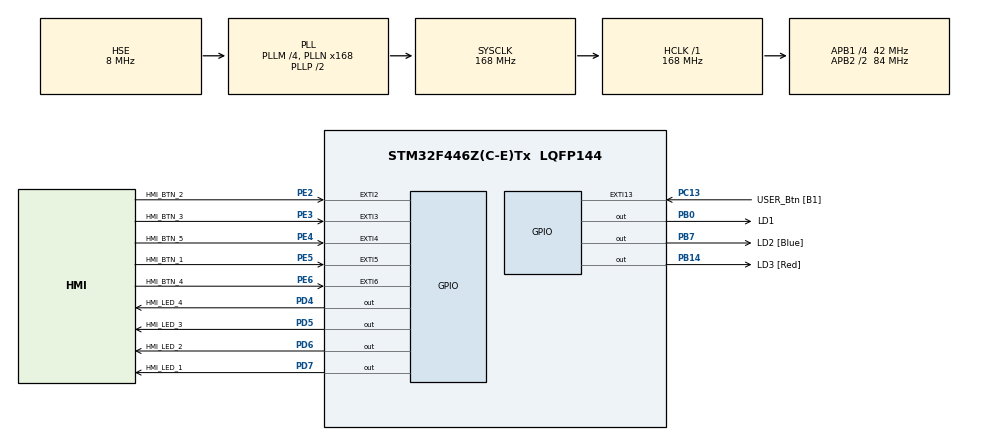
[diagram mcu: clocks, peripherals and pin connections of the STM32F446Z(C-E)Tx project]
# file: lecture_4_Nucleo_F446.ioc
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Mcu.Family=STM32F4
Mcu.Name=STM32F446Z(C-E)Tx
Mcu.Package=LQFP144
NVIC.EXTI15_10_IRQn=true\:0\:0\:false\:false\:true\:true\:true\:true
NVIC.EXTI2_IRQn=true\:0\:0\:false\:false\:true\:true\:true\:true
NVIC.EXTI3_IRQn=true\:0\:0\:false\:false\:true\:true\:true\:true
NVIC.EXTI4_IRQn=true\:0\:0\:false\:false\:true\:true\:true\:true
NVIC.EXTI9_5_IRQn=true\:0\:0\:false\:false\:true\:true\:true\:true
NVIC.PriorityGroup=NVIC_PRIORITYGROUP_4
PA13.Mode=Serial_Wire
PA13.Signal=SYS_JTMS-SWDIO
PA14.Mode=Serial_Wire
PA14.Signal=SYS_JTCK-SWCLK
PB0.GPIO_Label=LD1
PB0.Signal=GPIO_Output
PB14.GPIO_Label=LD3 [Red]
PB14.Signal=GPIO_Output
PB7.GPIO_Label=LD2 [Blue]
PB7.Signal=GPIO_Output
PC13.GPIO_Label=USER_Btn [B1]
PC13.GPIO_ModeDefaultEXTI=GPIO_MODE_IT_RISING_FALLING
PC13.Signal=GPXTI13
PC14-OSC32_IN.Mode=LSE-External-Oscillator
PC14-OSC32_IN.Signal=RCC_OSC32_IN
PC15-OSC32_OUT.Mode=LSE-External-Oscillator
PC15-OSC32_OUT.Signal=RCC_OSC32_OUT
PD4.GPIO_Label=HMI_LED_4
PD4.GPIO_ModeDefaultOutputPP=GPIO_MODE_OUTPUT_PP
PD4.GPIO_PuPd=GPIO_NOPULL
PD4.GPIO_Speed=GPIO_SPEED_FREQ_LOW
PD4.PinState=GPIO_PIN_RESET
PD4.Signal=GPIO_Output
PD5.GPIO_Label=HMI_LED_3
PD5.GPIO_ModeDefaultOutputPP=GPIO_MODE_OUTPUT_PP
PD5.GPIO_PuPd=GPIO_NOPULL
PD5.GPIO_Speed=GPIO_SPEED_FREQ_LOW
PD5.PinState=GPIO_PIN_RESET
PD5.Signal=GPIO_Output
PD6.GPIO_Label=HMI_LED_2
PD6.GPIO_ModeDefaultOutputPP=GPIO_MODE_OUTPUT_PP
PD6.GPIO_PuPd=GPIO_NOPULL
PD6.GPIO_Speed=GPIO_SPEED_FREQ_LOW
PD6.PinState=GPIO_PIN_RESET
PD6.Signal=GPIO_Output
PD7.GPIO_Label=HMI_LED_1
PD7.GPIO_ModeDefaultOutputPP=GPIO_MODE_OUTPUT_PP
PD7.GPIO_PuPd=GPIO_NOPULL
PD7.GPIO_Speed=GPIO_SPEED_FREQ_LOW
PD7.PinState=GPIO_PIN_RESET
PD7.Signal=GPIO_Output
PE2.GPIO_Label=HMI_BTN_2
PE2.GPIO_ModeDefaultEXTI=GPIO_MODE_IT_RISING_FALLING
PE2.Signal=GPXTI2
PE3.GPIO_Label=HMI_BTN_3
PE3.GPIO_ModeDefaultEXTI=GPIO_MODE_IT_RISING_FALLING
PE3.Signal=GPXTI3
PE4.GPIO_Label=HMI_BTN_5
PE4.GPIO_ModeDefaultEXTI=GPIO_MODE_IT_RISING_FALLING
PE4.Signal=GPXTI4
PE5.GPIO_Label=HMI_BTN_1
PE5.GPIO_ModeDefaultEXTI=GPIO_MODE_IT_RISING_FALLING
PE5.Signal=GPXTI5
PE6.GPIO_Label=HMI_BTN_4
PE6.GPIO_ModeDefaultEXTI=GPIO_MODE_IT_RISING_FALLING
PE6.Signal=GPXTI6
PH0-OSC_IN.Mode=HSE-External-Clock-Source
PH0-OSC_IN.Signal=RCC_OSC_IN
PH1-OSC_OUT.Mode=HSE-External-Clock-Source
PH1-OSC_OUT.Signal=RCC_OSC_OUT
ProjectManager.HeapSize=0x200
ProjectManager.StackSize=0x400
ProjectManager.TargetToolchain=STM32CubeIDE
RCC.48MHZClocksFreq_Value=24000000
RCC.AHBFreq_Value=168000000
RCC.APB1CLKDivider=RCC_HCLK_DIV4
RCC.APB1Freq_Value=42000000
RCC.APB1TimFreq_Value=84000000
RCC.APB2CLKDivider=RCC_HCLK_DIV2
RCC.APB2Freq_Value=84000000
RCC.APB2TimFreq_Value=168000000
RCC.CortexFreq_Value=168000000
RCC.HCLKFreq_Value=168000000
RCC.HSE_VALUE=8000000
RCC.HSI_VALUE=16000000
RCC.PLLM=4
RCC.PLLMUL=RCC_PLL_MUL9
RCC.PLLN=168
RCC.PLLQ=7
RCC.PLLSourceVirtual=RCC_PLLSOURCE_HSE
RCC.PRESCALERUSB=RCC_USBCLKSOURCE_PLL_DIV1_5
RCC.SYSCLKFreq_VALUE=168000000
RCC.SYSCLKSource=RCC_SYSCLKSOURCE_PLLCLK
RCC.SYSCLKSourceVirtual=RCC_SYSCLKSOURCE_PLLCLK
RCC.USBFreq_Value=48000000
RCC.VCOOutputFreq_Value=336000000
board=NUCLEO-F446ZE

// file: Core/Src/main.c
/* USER CODE BEGIN Header */
/**
  ******************************************************************************
  * @file           : main.c
  * @brief          : Main program body
  ******************************************************************************
  * @attention
  *
  * Copyright (c) 2024 STMicroelectronics.
  * All rights reserved.
  *
  * This software is licensed under terms that can be found in the LICENSE file
  * in the root directory of this software component.
  * If no LICENSE file comes with this software, it is provided AS-IS.
  *
  ******************************************************************************
  */
/* USER CODE END Header */
#include "main.h"
#include "gpio.h"

/* USER CODE BEGIN Includes */
#include "../../External/Inc/example.h"
/* USER CODE END Includes */

void SystemClock_Config(void);

int main(void)
{

  /* USER CODE BEGIN 1 */
	exampleFunction();
  /* USER CODE END 1 */

  /* MCU Configuration--------------------------------------------------------*/

  /* Reset of all peripherals, Initializes the Flash interface and the Systick. */
  HAL_Init();

  /* Configure the system clock */
  SystemClock_Config();

  /* Initialize all configured peripherals */
  MX_GPIO_Init();
  /* USER CODE BEGIN 2 */
  uint32_t GPIOD_base_addr = 0x40020C00;
  uint32_t RCC_base_addr = 0x40023800;
  uint32_t* GPIO_MODDER_addr= (uint32_t *)(GPIOD_base_addr+0x00);
  uint32_t* GPIO_OTYPER_addr = (uint32_t *)(GPIOD_base_addr+0x04);
  uint32_t* GPIO_OSPEEDR_addr = (uint32_t *)(GPIOD_base_addr+0x08);
  uint32_t* GPIO_PUPDR_addr = (uint32_t *)(GPIOD_base_addr+0x0C);
  uint32_t* GPIO_IDR_addr = (uint32_t *)(GPIOD_base_addr+0x10);
  uint32_t* GPIO_ODR_addr = (uint32_t *)(GPIOD_base_addr+0x14);
  uint32_t* GPIO_BSRR_addr = (uint32_t *)(GPIOD_base_addr+0x18);
  uint32_t* GPIO_LCKR_addr = (uint32_t *)(GPIOD_base_addr+0x1C);
  uint32_t* GPIO_AFRL_addr = (uint32_t *)(GPIOD_base_addr+0x20);
  uint32_t* GPIO_AFRH_addr = (uint32_t *)(GPIOD_base_addr+0x24);
  uint32_t* RCC_AHB1 = (uint32_t *)(RCC_base_addr+0x30);

  *RCC_AHB1 |= 0x00100008;			// Set the periphery register
  *GPIO_MODDER_addr = 0x00004000; 	// Setting the PD7 GPIO to output, everything else to input
  *GPIO_OTYPER_addr = 0x00000000; 	// Reset, all types set to push-pull
  *GPIO_OSPEEDR_addr = 0x00000000; 	// Low speed
  *GPIO_PUPDR_addr = 0x00000000; 	// No pull-up or pull-down resistor
  *GPIO_IDR_addr = 0x00000000; 		// Input register set to 0
  *GPIO_ODR_addr = 0x00000000; 		// Output register set to 0
  *GPIO_BSRR_addr = 0x00000000; 	// No S-R flip flop to the output
  *GPIO_LCKR_addr = 0x00000000; 	// No locking
  *GPIO_AFRL_addr = 0x00000000;		// Default function
  *GPIO_AFRH_addr = 0x00000000; 	// Default function
  /* USER CODE END 2 */

  /* Infinite loop */
  /* USER CODE BEGIN WHILE */
  while (1)
  {
	  *GPIO_ODR_addr = *GPIO_ODR_addr^ 0x00000080; 	// Toggle the PD7 pins state
	  for(uint32_t i = 0; i < 3330000; i++); 		// Wait for 500 milliseconds (clk = 25 MHz)

    /* USER CODE END WHILE */

    /* USER CODE BEGIN 3 */
	HAL_GPIO_TogglePin(LD1_GPIO_Port, LD1_Pin);
	HAL_Delay(100);
	HAL_GPIO_TogglePin(LD2_GPIO_Port, LD2_Pin);
	HAL_Delay(100);
	HAL_GPIO_TogglePin(LD3_GPIO_Port, LD3_Pin);
	HAL_Delay(100);
  }
  /* USER CODE END 3 */
}

void SystemClock_Config(void)
{
  RCC_OscInitTypeDef RCC_OscInitStruct = {0};
  RCC_ClkInitTypeDef RCC_ClkInitStruct = {0};

  /** Configure the main internal regulator output voltage
  */
  __HAL_RCC_PWR_CLK_ENABLE();
  __HAL_PWR_VOLTAGESCALING_CONFIG(PWR_REGULATOR_VOLTAGE_SCALE1);

  /** Initializes the RCC Oscillators according to the specified parameters
  * in the RCC_OscInitTypeDef structure.
  */
  RCC_OscInitStruct.OscillatorType = RCC_OSCILLATORTYPE_HSE;
  RCC_OscInitStruct.HSEState = RCC_HSE_BYPASS;
  RCC_OscInitStruct.PLL.PLLState = RCC_PLL_ON;
  RCC_OscInitStruct.PLL.PLLSource = RCC_PLLSOURCE_HSE;
  RCC_OscInitStruct.PLL.PLLM = 4;
  RCC_OscInitStruct.PLL.PLLN = 168;
  RCC_OscInitStruct.PLL.PLLP = RCC_PLLP_DIV2;
  RCC_OscInitStruct.PLL.PLLQ = 7;
  RCC_OscInitStruct.PLL.PLLR = 2;
  if (HAL_RCC_OscConfig(&RCC_OscInitStruct) != HAL_OK)
  {
    Error_Handler();
  }

  /** Initializes the CPU, AHB and APB buses clocks
  */
  RCC_ClkInitStruct.ClockType = RCC_CLOCKTYPE_HCLK|RCC_CLOCKTYPE_SYSCLK
                              |RCC_CLOCKTYPE_PCLK1|RCC_CLOCKTYPE_PCLK2;
  RCC_ClkInitStruct.SYSCLKSource = RCC_SYSCLKSOURCE_PLLCLK;
  RCC_ClkInitStruct.AHBCLKDivider = RCC_SYSCLK_DIV1;
  RCC_ClkInitStruct.APB1CLKDivider = RCC_HCLK_DIV4;
  RCC_ClkInitStruct.APB2CLKDivider = RCC_HCLK_DIV2;

  if (HAL_RCC_ClockConfig(&RCC_ClkInitStruct, FLASH_LATENCY_5) != HAL_OK)
  {
    Error_Handler();
  }
}

void Error_Handler(void)
{
  __disable_irq();
  while (1)
  {
  }
}
